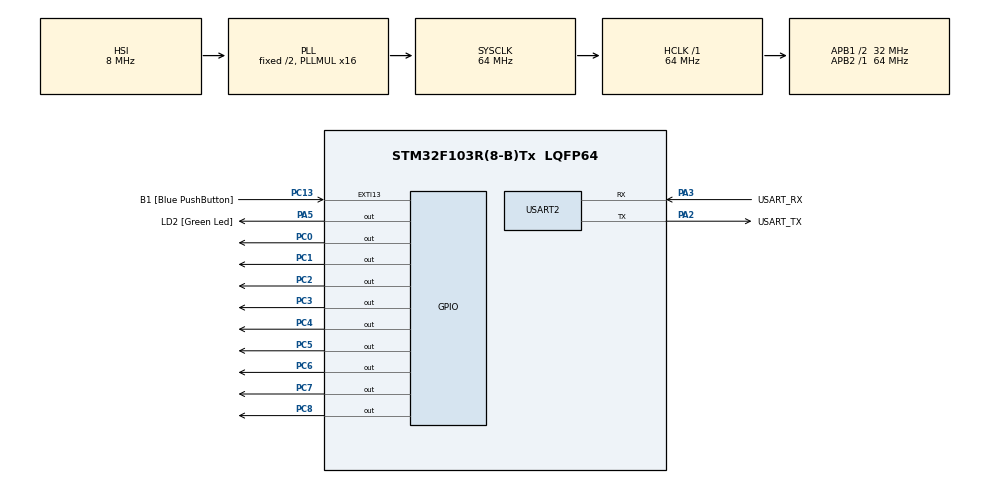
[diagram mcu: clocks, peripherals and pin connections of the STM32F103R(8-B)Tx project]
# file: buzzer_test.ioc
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Mcu.Family=STM32F1
Mcu.Name=STM32F103R(8-B)Tx
Mcu.Package=LQFP64
NVIC.EXTI15_10_IRQn=true\:0\:0\:false\:false\:true\:true\:true\:true
NVIC.PriorityGroup=NVIC_PRIORITYGROUP_4
NVIC.TIM2_IRQn=true\:0\:0\:false\:false\:true\:true\:true\:true
PA13.GPIO_Label=TMS
PA13.Mode=Serial_Wire
PA13.Signal=SYS_JTMS-SWDIO
PA14.GPIO_Label=TCK
PA14.Mode=Serial_Wire
PA14.Signal=SYS_JTCK-SWCLK
PA2.GPIO_Label=USART_TX
PA2.GPIO_Mode=GPIO_MODE_AF_PP
PA2.GPIO_PuPd=GPIO_NOPULL
PA2.GPIO_Speed=GPIO_SPEED_FREQ_LOW
PA2.Mode=Asynchronous
PA2.Signal=USART2_TX
PA3.GPIO_Label=USART_RX
PA3.GPIO_Mode=GPIO_MODE_AF_PP
PA3.GPIO_PuPd=GPIO_NOPULL
PA3.GPIO_Speed=GPIO_SPEED_FREQ_LOW
PA3.Mode=Asynchronous
PA3.Signal=USART2_RX
PA5.GPIO_Label=LD2 [Green Led]
PA5.GPIO_ModeDefaultOutputPP=GPIO_MODE_OUTPUT_PP
PA5.GPIO_PuPd=GPIO_NOPULL
PA5.GPIO_Speed=GPIO_SPEED_FREQ_LOW
PA5.Signal=GPIO_Output
PB3.GPIO_Label=SWO
PB3.Signal=SYS_JTDO-TRACESWO
PC0.Signal=GPIO_Output
PC1.Signal=GPIO_Output
PC13-TAMPER-RTC.GPIO_Label=B1 [Blue PushButton]
PC13-TAMPER-RTC.GPIO_PuPd=GPIO_NOPULL
PC13-TAMPER-RTC.Signal=GPXTI13
PC14-OSC32_IN.Mode=LSE-External-Oscillator
PC14-OSC32_IN.Signal=RCC_OSC32_IN
PC15-OSC32_OUT.Mode=LSE-External-Oscillator
PC15-OSC32_OUT.Signal=RCC_OSC32_OUT
PC2.Signal=GPIO_Output
PC3.Signal=GPIO_Output
PC4.Signal=GPIO_Output
PC5.Signal=GPIO_Output
PC6.Signal=GPIO_Output
PC7.Signal=GPIO_Output
PC8.Signal=GPIO_Output
PD0-OSC_IN.Mode=HSE-External-Clock-Source
PD0-OSC_IN.Signal=RCC_OSC_IN
PD1-OSC_OUT.Mode=HSE-External-Clock-Source
PD1-OSC_OUT.Signal=RCC_OSC_OUT
ProjectManager.HeapSize=0x200
ProjectManager.StackSize=0x400
ProjectManager.TargetToolchain=STM32CubeIDE
RCC.AHBFreq_Value=64000000
RCC.APB1CLKDivider=RCC_HCLK_DIV2
RCC.APB1Freq_Value=32000000
RCC.APB1TimFreq_Value=64000000
RCC.APB2Freq_Value=64000000
RCC.APB2TimFreq_Value=64000000
RCC.HCLKFreq_Value=64000000
RCC.PLLMUL=RCC_PLL_MUL16
RCC.RTCClockSelection=RCC_RTCCLKSOURCE_LSE
RCC.SYSCLKFreq_VALUE=64000000
RCC.SYSCLKSource=RCC_SYSCLKSOURCE_PLLCLK
RCC.USBFreq_Value=64000000
TIM2.Channel-Output\ Compare1\ No\ Output=TIM_CHANNEL_1
TIM2.Period=10000-1
TIM2.Prescaler=640-1
TIM2.Pulse-Output\ Compare1\ No\ Output=5000-1
USART2.VirtualMode=VM_ASYNC
VP_TIM2_VS_ClockSourceINT.Mode=Internal
VP_TIM2_VS_no_output1.Mode=Output Compare1 No Output
board=NUCLEO-F103RB

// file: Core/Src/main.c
/* USER CODE BEGIN Header */
/**
  ******************************************************************************
  * @file           : main.c
  * @brief          : Main program body
  ******************************************************************************
  * @attention
  *
  * Copyright (c) 2022 STMicroelectronics.
  * All rights reserved.
  *
  * This software is licensed under terms that can be found in the LICENSE file
  * in the root directory of this software component.
  * If no LICENSE file comes with this software, it is provided AS-IS.
  *
  ******************************************************************************
  */
/* USER CODE END Header */
#include "main.h"

 TIM_HandleTypeDef htim2;

UART_HandleTypeDef huart2;

/* USER CODE BEGIN PV */
int time = 10;
int state = 0;
/* USER CODE END PV */

void SystemClock_Config(void);
static void MX_GPIO_Init(void);
static void MX_USART2_UART_Init(void);
static void MX_TIM2_Init(void);
/* USER CODE BEGIN PFP */
#ifdef __GNUC__
/* With GCC, small printf (option LD Linker->Libraries->Small printf
   set to 'Yes') calls __io_putchar() */
#define PUTCHAR_PROTOTYPE int __io_putchar(int ch)
#else
#define PUTCHAR_PROTOTYPE int fputc(int ch, FILE *f)
#endif /* __GNUC__ */

PUTCHAR_PROTOTYPE
{
  /* Place your implementation of fputc here */
  /* e.g. write a character to the USART1 and Loop until the end of transmission */
  HAL_UART_Transmit(&huart2, (uint8_t *)&ch, 1, 0xFFFF);

  return ch;
}
/* USER CODE END PFP */

int main(void)
{

  /* MCU Configuration--------------------------------------------------------*/

  /* Reset of all peripherals, Initializes the Flash interface and the Systick. */
  HAL_Init();

  /* Configure the system clock */
  SystemClock_Config();

  /* Initialize all configured peripherals */
  MX_GPIO_Init();
  MX_USART2_UART_Init();
  MX_TIM2_Init();

  /* Infinite loop */
  while (1)
  {

    /* USER CODE BEGIN 3 */
	  printf("time : %d\n\r", time);
//		HAL_GPIO_WritePin(GPIOC, GPIO_PIN_All, state);
//			state = !state;
//			HAL_Delay(100);

  }
  /* USER CODE END 3 */
}

void SystemClock_Config(void)
{
  RCC_OscInitTypeDef RCC_OscInitStruct = {0};
  RCC_ClkInitTypeDef RCC_ClkInitStruct = {0};

  /** Initializes the RCC Oscillators according to the specified parameters
  * in the RCC_OscInitTypeDef structure.
  */
  RCC_OscInitStruct.OscillatorType = RCC_OSCILLATORTYPE_HSI;
  RCC_OscInitStruct.HSIState = RCC_HSI_ON;
  RCC_OscInitStruct.HSICalibrationValue = RCC_HSICALIBRATION_DEFAULT;
  RCC_OscInitStruct.PLL.PLLState = RCC_PLL_ON;
  RCC_OscInitStruct.PLL.PLLSource = RCC_PLLSOURCE_HSI_DIV2;
  RCC_OscInitStruct.PLL.PLLMUL = RCC_PLL_MUL16;
  if (HAL_RCC_OscConfig(&RCC_OscInitStruct) != HAL_OK)
  {
    Error_Handler();
  }

  /** Initializes the CPU, AHB and APB buses clocks
  */
  RCC_ClkInitStruct.ClockType = RCC_CLOCKTYPE_HCLK|RCC_CLOCKTYPE_SYSCLK
                              |RCC_CLOCKTYPE_PCLK1|RCC_CLOCKTYPE_PCLK2;
  RCC_ClkInitStruct.SYSCLKSource = RCC_SYSCLKSOURCE_PLLCLK;
  RCC_ClkInitStruct.AHBCLKDivider = RCC_SYSCLK_DIV1;
  RCC_ClkInitStruct.APB1CLKDivider = RCC_HCLK_DIV2;
  RCC_ClkInitStruct.APB2CLKDivider = RCC_HCLK_DIV1;

  if (HAL_RCC_ClockConfig(&RCC_ClkInitStruct, FLASH_LATENCY_2) != HAL_OK)
  {
    Error_Handler();
  }
}

static void MX_TIM2_Init(void)
{

  TIM_ClockConfigTypeDef sClockSourceConfig = {0};
  TIM_MasterConfigTypeDef sMasterConfig = {0};
  TIM_OC_InitTypeDef sConfigOC = {0};

  /* USER CODE BEGIN TIM2_Init 1 */
  HAL_TIM_Base_Start_IT(&htim2);
  HAL_TIM_OC_Start_IT(&htim2, TIM_CHANNEL_1);
  /* USER CODE END TIM2_Init 1 */
  htim2.Instance = TIM2;
  htim2.Init.Prescaler = 640-1;
  htim2.Init.CounterMode = TIM_COUNTERMODE_UP;
  htim2.Init.Period = 10000-1;
  htim2.Init.ClockDivision = TIM_CLOCKDIVISION_DIV1;
  htim2.Init.AutoReloadPreload = TIM_AUTORELOAD_PRELOAD_DISABLE;
  if (HAL_TIM_Base_Init(&htim2) != HAL_OK)
  {
    Error_Handler();
  }
  sClockSourceConfig.ClockSource = TIM_CLOCKSOURCE_INTERNAL;
  if (HAL_TIM_ConfigClockSource(&htim2, &sClockSourceConfig) != HAL_OK)
  {
    Error_Handler();
  }
  if (HAL_TIM_OC_Init(&htim2) != HAL_OK)
  {
    Error_Handler();
  }
  sMasterConfig.MasterOutputTrigger = TIM_TRGO_RESET;
  sMasterConfig.MasterSlaveMode = TIM_MASTERSLAVEMODE_DISABLE;
  if (HAL_TIMEx_MasterConfigSynchronization(&htim2, &sMasterConfig) != HAL_OK)
  {
    Error_Handler();
  }
  sConfigOC.OCMode = TIM_OCMODE_TIMING;
  sConfigOC.Pulse = 5000-1;
  sConfigOC.OCPolarity = TIM_OCPOLARITY_HIGH;
  sConfigOC.OCFastMode = TIM_OCFAST_DISABLE;
  if (HAL_TIM_OC_ConfigChannel(&htim2, &sConfigOC, TIM_CHANNEL_1) != HAL_OK)
  {
    Error_Handler();
  }
  /* USER CODE BEGIN TIM2_Init 2 */
	if (HAL_TIM_Base_Start_IT(&htim2) != HAL_OK) {
		Error_Handler();
	}
	if (HAL_TIM_OC_Start_IT(&htim2, TIM_CHANNEL_1) != HAL_OK) {
		Error_Handler();
	}
  /* USER CODE END TIM2_Init 2 */

}

static void MX_USART2_UART_Init(void)
{

  huart2.Instance = USART2;
  huart2.Init.BaudRate = 115200;
  huart2.Init.WordLength = UART_WORDLENGTH_8B;
  huart2.Init.StopBits = UART_STOPBITS_1;
  huart2.Init.Parity = UART_PARITY_NONE;
  huart2.Init.Mode = UART_MODE_TX_RX;
  huart2.Init.HwFlowCtl = UART_HWCONTROL_NONE;
  huart2.Init.OverSampling = UART_OVERSAMPLING_16;
  if (HAL_UART_Init(&huart2) != HAL_OK)
  {
    Error_Handler();
  }

}

static void MX_GPIO_Init(void)
{
  GPIO_InitTypeDef GPIO_InitStruct = {0};

  /* GPIO Ports Clock Enable */
  __HAL_RCC_GPIOC_CLK_ENABLE();
  __HAL_RCC_GPIOD_CLK_ENABLE();
  __HAL_RCC_GPIOA_CLK_ENABLE();
  __HAL_RCC_GPIOB_CLK_ENABLE();

  /*Configure GPIO pin Output Level */
  HAL_GPIO_WritePin(GPIOC, GPIO_PIN_0|GPIO_PIN_1|GPIO_PIN_2|GPIO_PIN_3
                          |GPIO_PIN_4|GPIO_PIN_5|GPIO_PIN_6|GPIO_PIN_7
                          |GPIO_PIN_8, GPIO_PIN_RESET);

  /*Configure GPIO pin Output Level */
  HAL_GPIO_WritePin(LD2_GPIO_Port, LD2_Pin, GPIO_PIN_RESET);

  /*Configure GPIO pin : B1_Pin */
  GPIO_InitStruct.Pin = B1_Pin;
  GPIO_InitStruct.Mode = GPIO_MODE_IT_RISING;
  GPIO_InitStruct.Pull = GPIO_NOPULL;
  HAL_GPIO_Init(B1_GPIO_Port, &GPIO_InitStruct);

  /*Configure GPIO pins : PC0 PC1 PC2 PC3
                           PC4 PC5 PC6 PC7
                           PC8 */
  GPIO_InitStruct.Pin = GPIO_PIN_0|GPIO_PIN_1|GPIO_PIN_2|GPIO_PIN_3
                          |GPIO_PIN_4|GPIO_PIN_5|GPIO_PIN_6|GPIO_PIN_7
                          |GPIO_PIN_8;
  GPIO_InitStruct.Mode = GPIO_MODE_OUTPUT_PP;
  GPIO_InitStruct.Pull = GPIO_NOPULL;
  GPIO_InitStruct.Speed = GPIO_SPEED_FREQ_LOW;
  HAL_GPIO_Init(GPIOC, &GPIO_InitStruct);

  /*Configure GPIO pin : LD2_Pin */
  GPIO_InitStruct.Pin = LD2_Pin;
  GPIO_InitStruct.Mode = GPIO_MODE_OUTPUT_PP;
  GPIO_InitStruct.Pull = GPIO_NOPULL;
  GPIO_InitStruct.Speed = GPIO_SPEED_FREQ_LOW;
  HAL_GPIO_Init(LD2_GPIO_Port, &GPIO_InitStruct);

  /* EXTI interrupt init*/
  HAL_NVIC_SetPriority(EXTI15_10_IRQn, 0, 0);
  HAL_NVIC_EnableIRQ(EXTI15_10_IRQn);

}

/* USER CODE BEGIN 4 */
void HAL_TIM_PeriodElapsedCallback(TIM_HandleTypeDef *htim) {
	GPIOC->BSRR = 0xffff;
	TIM2->ARR -= 10;
//	HAL_GPIO_WritePin(GPIOC, GPIO_PIN_All, GPIO_PIN_SET);
}

void HAL_TIM_OC_DelayElapsedCallback(TIM_HandleTypeDef *htim) {
		GPIOC->BRR = 0Xffff;
}
/* USER CODE END 4 */

void Error_Handler(void)
{
  __disable_irq();
  while (1)
  {
  }
}
